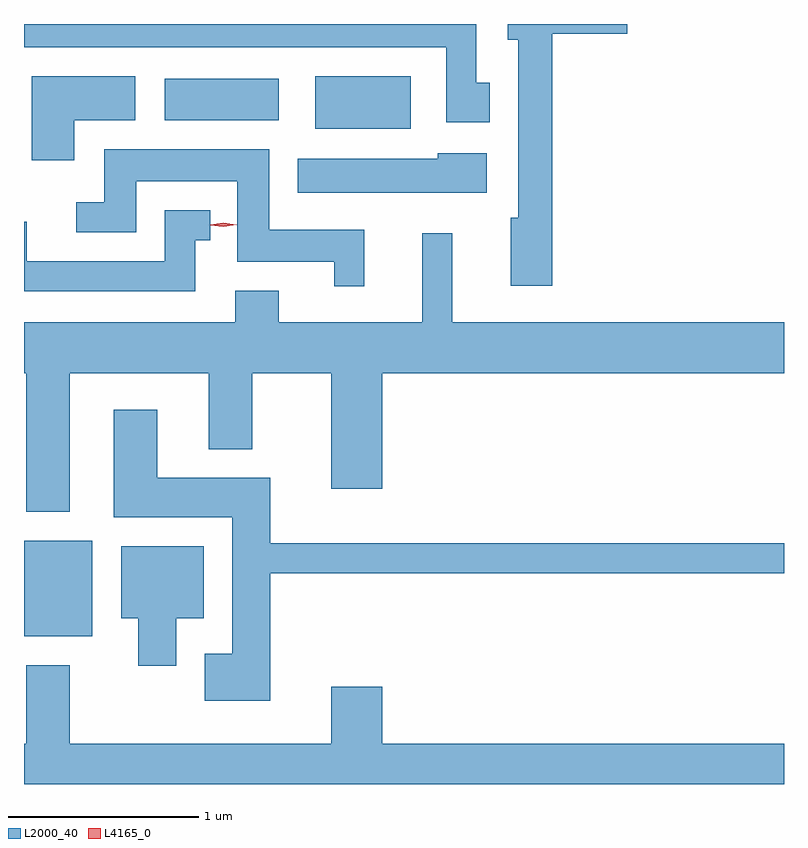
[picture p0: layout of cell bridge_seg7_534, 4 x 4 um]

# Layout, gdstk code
import gdstk
lib = gdstk.Library(unit=1e-6, precision=1e-09)
def R(c, l, rs):  # rectangles x0, y0, x1, y1
    for r in rs: c.add(gdstk.rectangle(r[:2], r[2:], *l))
def P(c, l, *ps):  # polygons
    for p in ps: c.add(gdstk.Polygon(p, *l))
L2000_40 = (2000, 40)
L4165_0 = (4165, 0)

bridge_seg7_534 = lib.new_cell('bridge_seg7_534')
R(bridge_seg7_534, L2000_40, [(852.819,1775.091,853.179,1775.594), (854.351,1777.761,854.854,1778.039), (853.561,1777.806,854.159,1778.024)])
P(bridge_seg7_534, L2000_40, [(855.269,1778.004),(855.199,1778.004),(855.199,1778.313),(852.819,1778.313),(852.819,1778.191),(855.041,1778.191),(855.041,1777.796),(855.269,1777.796)],
  [(855.599,1778.261),(855.994,1778.261),(855.994,1778.313),(855.366,1778.313),(855.366,1778.231),(855.421,1778.231),(855.421,1777.294),(855.381,1777.294),(855.381,1776.936),(855.599,1776.936)],
  [(853.084,1777.806),(853.404,1777.806),(853.404,1778.039),(852.861,1778.039),(852.861,1777.596),(853.084,1777.596)],
  [(854.609,1777.229),(854.109,1777.229),(854.109,1777.654),(853.241,1777.654),(853.241,1777.374),(853.093,1777.374),(853.093,1777.216),(853.409,1777.216),(853.409,1777.486),(853.941,1777.486),(853.941,1777.061),(854.451,1777.061),(854.451,1776.933),(854.609,1776.933)],
  [(855.254,1777.634),(854.996,1777.634),(854.996,1777.604),(854.261,1777.604),(854.261,1777.426),(855.254,1777.426)],
  [(853.719,1777.176),(853.798,1777.176),(853.798,1777.334),(853.561,1777.334),(853.561,1777.064),(852.834,1777.064),(852.834,1777.273),(852.819,1777.273),(852.819,1776.906),(853.719,1776.906)],
  [(853.059,1776.476),(853.791,1776.476),(853.791,1776.076),(854.019,1776.076),(854.019,1776.476),(854.436,1776.476),(854.436,1775.866),(854.704,1775.866),(854.704,1776.476),(856.819,1776.476),(856.819,1776.744),(855.074,1776.744),(855.074,1777.213),(854.916,1777.213),(854.916,1776.744),(854.159,1776.744),(854.159,1776.909),(853.931,1776.909),(853.931,1776.744),(852.819,1776.744),(852.819,1776.476),(852.831,1776.476),(852.831,1775.746),(853.059,1775.746)],
  [(854.114,1775.421),(856.819,1775.421),(856.819,1775.579),(854.114,1775.579),(854.114,1775.924),(853.519,1775.924),(853.519,1776.284),(853.291,1776.284),(853.291,1775.716),(853.916,1775.716),(853.916,1774.999),(853.771,1774.999),(853.771,1774.751),(854.114,1774.751)],
  [(853.619,1775.186),(853.764,1775.186),(853.764,1775.564),(853.331,1775.564),(853.331,1775.186),(853.421,1775.186),(853.421,1774.936),(853.619,1774.936)],
  [(856.819,1774.524),(854.704,1774.524),(854.704,1774.824),(854.436,1774.824),(854.436,1774.524),(853.059,1774.524),(853.059,1774.939),(852.831,1774.939),(852.831,1774.524),(852.819,1774.524),(852.819,1774.313),(856.819,1774.313)])
P(bridge_seg7_534, L4165_0, [(853.868,1777.246),(853.799,1777.255),(853.799,1777.256),(853.799,1777.256),(853.868,1777.266),(853.938,1777.257),(853.938,1777.256),(853.938,1777.256)])

lib.write_gds('bridge_seg7_534.gds')
